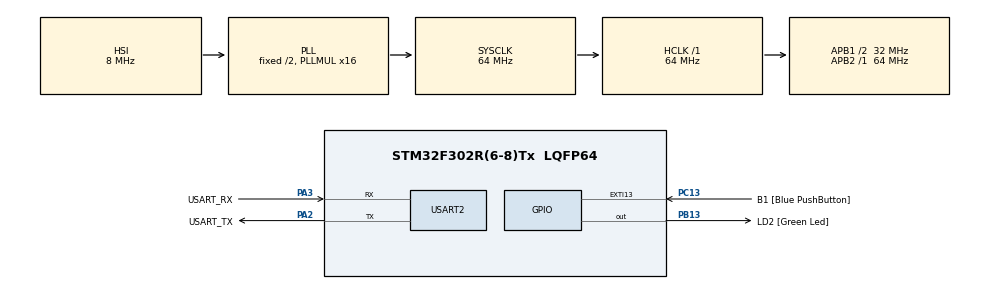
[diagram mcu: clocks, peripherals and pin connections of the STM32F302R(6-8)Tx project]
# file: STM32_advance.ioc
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FREERTOS.Tasks01=defaultTask,24,128,StartDefaultTask,Default,NULL,Dynamic,NULL,NULL
FREERTOS.configUSE_NEWLIB_REENTRANT=1
Mcu.Family=STM32F3
Mcu.Name=STM32F302R(6-8)Tx
Mcu.Package=LQFP64
NVIC.PriorityGroup=NVIC_PRIORITYGROUP_4
NVIC.TIM1_UP_TIM16_IRQn=true\:15\:0\:false\:false\:true\:false\:false\:true\:true
NVIC.TimeBase=TIM1_UP_TIM16_IRQn
NVIC.TimeBaseIP=TIM1
PA13.GPIO_Label=TMS
PA13.Mode=Serial_Wire
PA13.Signal=SYS_JTMS-SWDIO
PA14.GPIO_Label=TCK
PA14.Mode=Serial_Wire
PA14.Signal=SYS_JTCK-SWCLK
PA2.GPIO_Label=USART_TX
PA2.GPIO_Mode=GPIO_MODE_AF_PP
PA2.GPIO_PuPd=GPIO_NOPULL
PA2.GPIO_Speed=GPIO_SPEED_FREQ_LOW
PA2.Mode=Asynchronous
PA2.Signal=USART2_TX
PA3.GPIO_Label=USART_RX
PA3.GPIO_Mode=GPIO_MODE_AF_PP
PA3.GPIO_PuPd=GPIO_NOPULL
PA3.GPIO_Speed=GPIO_SPEED_FREQ_LOW
PA3.Mode=Asynchronous
PA3.Signal=USART2_RX
PB13.GPIO_Label=LD2 [Green Led]
PB13.Signal=GPIO_Output
PB3.GPIO_Label=SWO
PB3.Mode=Trace_Asynchronous_SW
PB3.Signal=SYS_JTDO-TRACESWO
PC13.GPIO_Label=B1 [Blue PushButton]
PC13.GPIO_ModeDefaultEXTI=GPIO_MODE_IT_FALLING
PC13.Signal=GPXTI13
PC14\ -\ OSC32_IN.Mode=LSE-External-Oscillator
PC14\ -\ OSC32_IN.Signal=RCC_OSC32_IN
PC15\ -\ OSC32_OUT.Mode=LSE-External-Oscillator
PC15\ -\ OSC32_OUT.Signal=RCC_OSC32_OUT
PF0-OSC_IN.Mode=HSE-External-Clock-Source
PF0-OSC_IN.Signal=RCC_OSC_IN
PF1-OSC_OUT.Signal=RCC_OSC_OUT
ProjectManager.HeapSize=0x200
ProjectManager.StackSize=0x400
ProjectManager.TargetToolchain=STM32CubeIDE
RCC.AHBFreq_Value=64000000
RCC.APB1CLKDivider=RCC_HCLK_DIV2
RCC.APB1Freq_Value=32000000
RCC.APB1TimFreq_Value=64000000
RCC.APB2Freq_Value=64000000
RCC.APB2TimFreq_Value=64000000
RCC.CortexFreq_Value=64000000
RCC.HCLKFreq_Value=64000000
RCC.HSE_VALUE=8000000
RCC.HSI_VALUE=8000000
RCC.PLLM=8
RCC.PLLMUL=RCC_PLL_MUL16
RCC.PLLN=336
RCC.PLLP=RCC_PLLP_DIV4
RCC.PLLQ=7
RCC.RCC_PLLsource_Clock_Source_FROM_HSE=RCC_HSE_PREDIV_DIV2
RCC.SYSCLKFreq_VALUE=64000000
RCC.SYSCLKSourceVirtual=RCC_SYSCLKSOURCE_PLLCLK
RCC.USBFreq_Value=64000000
USART2.VirtualMode-Asynchronous=VM_ASYNC
VP_FREERTOS_VS_CMSIS_V2.Mode=CMSIS_V2
VP_SYS_VS_tim1.Mode=TIM1
board=NUCLEO-F302R8

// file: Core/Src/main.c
/* USER CODE BEGIN Header */
/**
  ******************************************************************************
  * @file           : main.c
  * @brief          : Main program body
  ******************************************************************************
  * @attention
  *
  * Copyright (c) 2026 STMicroelectronics.
  * All rights reserved.
  *
  * This software is licensed under terms that can be found in the LICENSE file
  * in the root directory of this software component.
  * If no LICENSE file comes with this software, it is provided AS-IS.
  *
  ******************************************************************************
  */
/* USER CODE END Header */
#include "main.h"
#include "cmsis_os.h"

/* USER CODE BEGIN Includes */
#include <stdio.h>

/* USER CODE END Includes */

UART_HandleTypeDef huart2;

/* Definitions for defaultTask */
osThreadId_t defaultTaskHandle;
const osThreadAttr_t defaultTask_attributes = {
  .name = "defaultTask",
  .stack_size = 128 * 4,
  .priority = (osPriority_t) osPriorityNormal,
};

void SystemClock_Config(void);
static void MX_GPIO_Init(void);
static void MX_USART2_UART_Init(void);
void StartDefaultTask(void *argument);

int main(void)
{

  /* MCU Configuration--------------------------------------------------------*/

  /* Reset of all peripherals, Initializes the Flash interface and the Systick. */
  HAL_Init();

  /* Configure the system clock */
  SystemClock_Config();

  /* Initialize all configured peripherals */
  MX_GPIO_Init();
  MX_USART2_UART_Init();

  /* Init scheduler */
  osKernelInitialize();

  /* Create the thread(s) */
  /* creation of defaultTask */
  defaultTaskHandle = osThreadNew(StartDefaultTask, NULL, &defaultTask_attributes);

  /* USER CODE BEGIN RTOS_THREADS */
  AppTasks_Init();
  /* USER CODE END RTOS_THREADS */

  /* Start scheduler */
  osKernelStart();

  /* We should never get here as control is now taken by the scheduler */

  /* Infinite loop */
  /* USER CODE BEGIN WHILE */
  while (1)
  {
    printf("UART printf test\r\n");
    HAL_Delay(1000);

    /* USER CODE END WHILE */

  }
}

void SystemClock_Config(void)
{
  RCC_OscInitTypeDef RCC_OscInitStruct = {0};
  RCC_ClkInitTypeDef RCC_ClkInitStruct = {0};

  /** Initializes the RCC Oscillators according to the specified parameters
  * in the RCC_OscInitTypeDef structure.
  */
  RCC_OscInitStruct.OscillatorType = RCC_OSCILLATORTYPE_HSI;
  RCC_OscInitStruct.HSIState = RCC_HSI_ON;
  RCC_OscInitStruct.HSICalibrationValue = RCC_HSICALIBRATION_DEFAULT;
  RCC_OscInitStruct.PLL.PLLState = RCC_PLL_ON;
  RCC_OscInitStruct.PLL.PLLSource = RCC_PLLSOURCE_HSI;
  RCC_OscInitStruct.PLL.PLLMUL = RCC_PLL_MUL16;
  if (HAL_RCC_OscConfig(&RCC_OscInitStruct) != HAL_OK)
  {
    Error_Handler();
  }

  /** Initializes the CPU, AHB and APB buses clocks
  */
  RCC_ClkInitStruct.ClockType = RCC_CLOCKTYPE_HCLK|RCC_CLOCKTYPE_SYSCLK
                              |RCC_CLOCKTYPE_PCLK1|RCC_CLOCKTYPE_PCLK2;
  RCC_ClkInitStruct.SYSCLKSource = RCC_SYSCLKSOURCE_PLLCLK;
  RCC_ClkInitStruct.AHBCLKDivider = RCC_SYSCLK_DIV1;
  RCC_ClkInitStruct.APB1CLKDivider = RCC_HCLK_DIV2;
  RCC_ClkInitStruct.APB2CLKDivider = RCC_HCLK_DIV1;

  if (HAL_RCC_ClockConfig(&RCC_ClkInitStruct, FLASH_LATENCY_2) != HAL_OK)
  {
    Error_Handler();
  }
}

static void MX_USART2_UART_Init(void)
{

  huart2.Instance = USART2;
  huart2.Init.BaudRate = 38400;
  huart2.Init.WordLength = UART_WORDLENGTH_8B;
  huart2.Init.StopBits = UART_STOPBITS_1;
  huart2.Init.Parity = UART_PARITY_NONE;
  huart2.Init.Mode = UART_MODE_TX_RX;
  huart2.Init.HwFlowCtl = UART_HWCONTROL_NONE;
  huart2.Init.OverSampling = UART_OVERSAMPLING_16;
  huart2.Init.OneBitSampling = UART_ONE_BIT_SAMPLE_DISABLE;
  huart2.AdvancedInit.AdvFeatureInit = UART_ADVFEATURE_NO_INIT;
  if (HAL_UART_Init(&huart2) != HAL_OK)
  {
    Error_Handler();
  }

}

static void MX_GPIO_Init(void)
{
  GPIO_InitTypeDef GPIO_InitStruct = {0};

  /* GPIO Ports Clock Enable */
  __HAL_RCC_GPIOC_CLK_ENABLE();
  __HAL_RCC_GPIOF_CLK_ENABLE();
  __HAL_RCC_GPIOA_CLK_ENABLE();
  __HAL_RCC_GPIOB_CLK_ENABLE();

  /*Configure GPIO pin Output Level */
  HAL_GPIO_WritePin(LD2_GPIO_Port, LD2_Pin, GPIO_PIN_RESET);

  /*Configure GPIO pin : B1_Pin */
  GPIO_InitStruct.Pin = B1_Pin;
  GPIO_InitStruct.Mode = GPIO_MODE_IT_FALLING;
  GPIO_InitStruct.Pull = GPIO_NOPULL;
  HAL_GPIO_Init(B1_GPIO_Port, &GPIO_InitStruct);

  /*Configure GPIO pin : LD2_Pin */
  GPIO_InitStruct.Pin = LD2_Pin;
  GPIO_InitStruct.Mode = GPIO_MODE_OUTPUT_PP;
  GPIO_InitStruct.Pull = GPIO_NOPULL;
  GPIO_InitStruct.Speed = GPIO_SPEED_FREQ_LOW;
  HAL_GPIO_Init(LD2_GPIO_Port, &GPIO_InitStruct);

  /* USER CODE BEGIN MX_GPIO_Init_2 */
  HAL_NVIC_SetPriority(EXTI15_10_IRQn, 5, 0);
  HAL_NVIC_EnableIRQ(EXTI15_10_IRQn);

  /* USER CODE END MX_GPIO_Init_2 */
}

/* USER CODE BEGIN 4 */
int __io_putchar(int ch)
{
  uint8_t data = (uint8_t)ch;

  HAL_UART_Transmit(&huart2, &data, 1, HAL_MAX_DELAY);
  return ch;
}

void HAL_GPIO_EXTI_Callback(uint16_t GPIO_Pin)
{
  if (GPIO_Pin == B1_Pin)
  {
    AppTasks_ButtonPressedFromISR();
  }
}

/* USER CODE END 4 */

void StartDefaultTask(void *argument)
{
  for(;;)
  {
    osDelay(1);
  }
}

void HAL_TIM_PeriodElapsedCallback(TIM_HandleTypeDef *htim)
{
  if (htim->Instance == TIM1)
  {
    HAL_IncTick();
  }
}

void Error_Handler(void)
{
  __disable_irq();
  while (1)
  {
  }
}

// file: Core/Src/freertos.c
/* USER CODE BEGIN Header */
/**
  ******************************************************************************
  * File Name          : freertos.c
  * Description        : Code for freertos applications
  ******************************************************************************
  * @attention
  *
  * Copyright (c) 2026 STMicroelectronics.
  * All rights reserved.
  *
  * This software is licensed under terms that can be found in the LICENSE file
  * in the root directory of this software component.
  * If no LICENSE file comes with this software, it is provided AS-IS.
  *
  ******************************************************************************
  */
/* USER CODE END Header */

#include "FreeRTOS.h"
#include "task.h"
#include "main.h"
#include "cmsis_os.h"
#include <stdio.h>

/* USER CODE BEGIN FunctionPrototypes */
static void LedTask(void *argument);
static void UartTask(void *argument);
static void PrintMemoryUsage(void);

/* USER CODE END FunctionPrototypes */

/* USER CODE BEGIN Application */
static const osThreadAttr_t ledTaskAttributes = {
  .name = "LedTask",
  .stack_size = 256,
  .priority = (osPriority_t) osPriorityNormal,
};

static const osThreadAttr_t uartTaskAttributes = {
  .name = "UartTask",
  .stack_size = 512,
  .priority = (osPriority_t) osPriorityBelowNormal,
};

static osThreadId_t ledTaskHandle;
static osThreadId_t uartTaskHandle;

void AppTasks_ButtonPressedFromISR(void)
{
  BaseType_t higherPriorityTaskWoken = pdFALSE;

  vTaskNotifyGiveFromISR((TaskHandle_t)uartTaskHandle, &higherPriorityTaskWoken);
  portYIELD_FROM_ISR(higherPriorityTaskWoken);
}

static void PrintMemoryUsage(void)
{
  UBaseType_t ledFreeWords = uxTaskGetStackHighWaterMark((TaskHandle_t)ledTaskHandle);
  UBaseType_t uartFreeWords = uxTaskGetStackHighWaterMark((TaskHandle_t)uartTaskHandle);
  size_t freeHeapBytes = xPortGetFreeHeapSize();
  size_t usedHeapBytes = configTOTAL_HEAP_SIZE - freeHeapBytes;

  printf("LedTask stack: %lu/%lu bytes used\r\n",
         (unsigned long)(ledTaskAttributes.stack_size - (ledFreeWords * sizeof(StackType_t))),
         (unsigned long)ledTaskAttributes.stack_size);
  printf("UartTask stack: %lu/%lu bytes used\r\n",
         (unsigned long)(uartTaskAttributes.stack_size - (uartFreeWords * sizeof(StackType_t))),
         (unsigned long)uartTaskAttributes.stack_size);
  printf("Heap: %lu/%lu bytes used\r\n",
         (unsigned long)usedHeapBytes,
         (unsigned long)configTOTAL_HEAP_SIZE);
}

void AppTasks_Init(void)
{
  ledTaskHandle = osThreadNew(LedTask, NULL, &ledTaskAttributes);
  if (ledTaskHandle == NULL)
  {
    Error_Handler();
  }

  uartTaskHandle = osThreadNew(UartTask, NULL, &uartTaskAttributes);
  if (uartTaskHandle == NULL)
  {
    Error_Handler();
  }
}

static void LedTask(void *argument)
{
  (void)argument;

  for (;;)
  {
    HAL_GPIO_TogglePin(LD2_GPIO_Port, LD2_Pin);
    osDelay(200);
  }
}

static void UartTask(void *argument)
{
  (void)argument;

  for (;;)
  {
    ulTaskNotifyTake(pdTRUE, portMAX_DELAY);
    printf("Button pressed - memory usage:\r\n");
    PrintMemoryUsage();
  }
}

/* USER CODE END Application */
